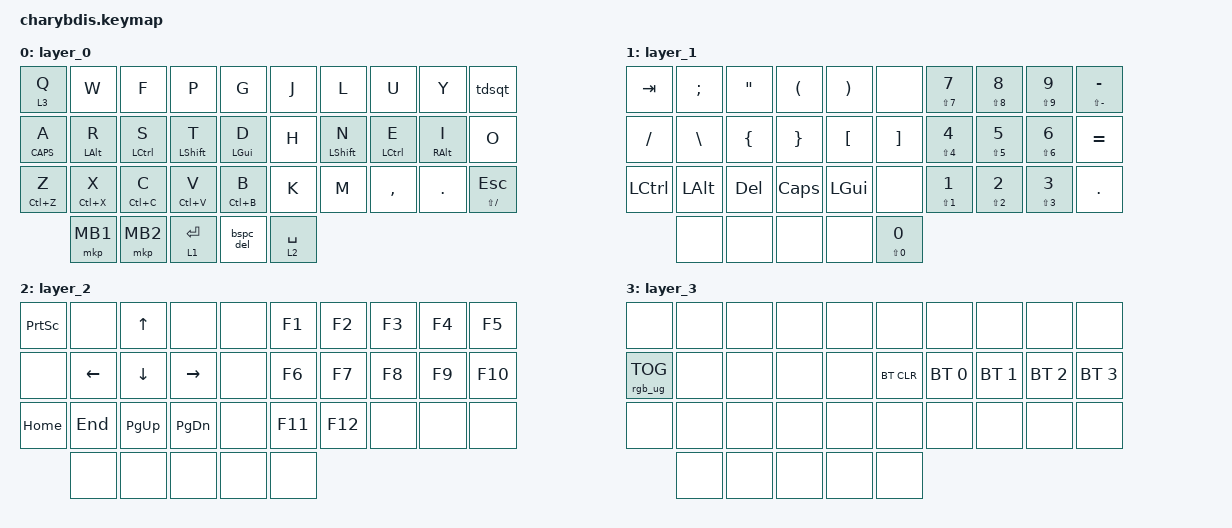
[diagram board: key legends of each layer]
#include <behaviors.dtsi>
#include <dt-bindings/zmk/bt.h>
#include <dt-bindings/zmk/keys.h>
#include <dt-bindings/zmk/pointing.h>
#include <dt-bindings/zmk/rgb.h>

#include "includes/keys.h"
#include "includes/settings.dtsi"
#include "includes/dance.dtsi"
#include "includes/macros.dtsi"
#include "includes/mods.dtsi"
#include "includes/morphs.dtsi"

/{ 
    keymap { 
        compatible = "zmk,keymap";

        layer_0 { 
            bindings = <
&lt 3 Q     &kp W           &kp F           &kp P               &kp G       &kp J   &kp L               &kp U           &kp Y       &tdsqt
&lt CAPS A  &hml LALT R     &hml LCTRL S    &hml LEFT_SHIFT T   &hml LGUI D       &kp H   &hmr LEFT_SHIFT N   &hmr LCTRL E    &hmr RALT I &kp O
&mt LC(Z) Z &mt LC(X) X     &mt LC(C) C     &mt LC(V) V         &mt LC(B) B &kp K   &kp M               &kp COMMA       &kp DOT     &mt LS(FSLH) ESC
                &mkp MB1  &mkp MB2  &lt 1 ENTER    &bspc_del  &lt 2 SPACE
            >;
        };

        layer_1 {
            bindings = <
&kp TAB     &kp SEMI        &kp DQT     &kp LPAR  &kp RPAR  &none       &mt LS(N7) N7  &mt LS(N8) N8  &mt LS(N9) N9  &mt LS(MINUS) MINUS
&kp FSLH    &kp BACKSLASH   &kp LBRC    &kp RBRC  &kp LBKT  &kp RBKT    &mt LS(N4) N4  &mt LS(N5) N5  &mt LS(N6) N6  &kp EQUAL     
&kp LCTRL   &kp LEFT_ALT    &kp DEL     &kp CAPS  &kp LGUI  &none       &mt LS(N1) N1  &mt LS(N2) N2  &mt LS(N3) N3  &kp DOT  
                           &none         &none     &none      &none    &mt LS(N0) N0
            >;
        };

        layer_2 {
            bindings = <
&kp PSCRN   &none            &kp UP_ARROW    &none              &none   &kp F1  &kp F2  &kp F3  &kp F4  &kp F5
&none       &kp LEFT_ARROW   &kp DOWN_ARROW  &kp RIGHT_ARROW    &none   &kp F6  &kp F7  &kp F8  &kp F9  &kp F10       
&kp HOME    &kp END         &kp PAGE_UP  &kp PAGE_DOWN          &none   &kp F11 &kp F12 &none   &none   &none 
                       &none           &none            &none            &none      &none
            >;
        };
    
        layer_3 {
            bindings = <
&none  &none  &none  &none  &none    &none       &none         &none         &none         &none
&rgb_ug RGB_TOG  &none  &none  &none  &none    &bt BT_CLR  &bt BT_SEL 0  &bt BT_SEL 1  &bt BT_SEL 2  &bt BT_SEL 3
&none  &none  &none  &none  &none    &none       &none         &none         &none         &none
              &none  &none  &none    &none       &none
            >;
        };
    
        /* layer_2 {
            bindings = <
&none  &none   &none    &none   &none         &none         &kp N1         &none         &none     &none  &none   &to 0
&none  &none   &none    &none   &none         &none         &none         &none          &rgb_ug RGB_BRD &rgb_ug RGB_BRI  &rgb_ug RGB_EFF   &rgb_ug RGB_TOG
&none  &none   &none    &none   &none         &none         &none         &mkp LCLK     &mkp RCLK  &none  &none   &none
&none  &none   &none    &none   &bt BT_NXT  &bt BT_CLR    &none         &none         &none     &none  &none   &none
                                   &none         &none         &none         &none         &none
                                                 &none         &none         &none
            >;
       
            
        };

       Mouse {
            bindings = <
&none        &none         &none         &none         &none      &none         &none       &none      &none         &none         &none         &none
&none        &bt BT_SEL 0  &bt BT_SEL 1  &bt BT_SEL 3  &none      &bt BT_CLR    &bt BT_CLR  &none      &bt BT_SEL 2  &bt BT_SEL 1  &bt BT_SEL 0  &none
&none        &trans        &trans        &mkp MCLK     &trans     &none         &none       &trans     &mkp MCLK     &trans        &trans        &none
&bootloader  &trans        &mkp RCLK     &mo 4         &mkp LCLK  &mo 5         &mo 5       &mkp LCLK  &mo 4         &mkp RCLK     &trans        &bootloader
                                         &mo 5         &mkp LCLK  &mkp RCLK     &mkp RCLK   &mkp LCLK
                                                       &none      &trans        &trans
            >;

            
        };

        layer_4 {
            bindings = <
&trans  &trans  &trans     &trans     &trans     &trans       &trans     &trans     &trans     &trans     &trans  &trans
&trans  &trans  &trans     &trans     &trans     &trans       &trans     &trans     &trans     &trans     &trans  &trans
&trans  &trans  &trans     &mkp MCLK  &trans     &trans       &trans     &trans     &mkp MCLK  &trans     &trans  &trans
&trans  &trans  &mkp RCLK  &trans     &mkp LCLK  &trans       &trans     &mkp LCLK  &trans     &mkp RCLK  &trans  &trans
                           &trans     &mkp LCLK  &mkp RCLK    &mkp RCLK  &mkp LCLK
                                      &trans     &trans       &trans
            >;
                
                
               
        };

        layer_5 {
            bindings = <
&trans  &trans  &trans     &trans     &trans     &trans       &trans     &trans     &trans     &trans     &trans  &trans
&trans  &trans  &trans     &trans     &trans     &trans       &trans     &trans     &trans     &trans     &trans  &trans
&trans  &trans  &trans     &mkp MCLK  &trans     &trans       &trans     &trans     &mkp MCLK  &trans     &trans  &trans
&trans  &trans  &mkp RCLK  &trans     &mkp LCLK  &trans       &trans     &mkp LCLK  &trans     &mkp RCLK  &trans  &trans
                           &trans     &mkp LCLK  &mkp RCLK    &mkp RCLK  &mkp LCLK
                                      &trans     &trans       &trans
            >;
                
                
        };*/
   };
};
